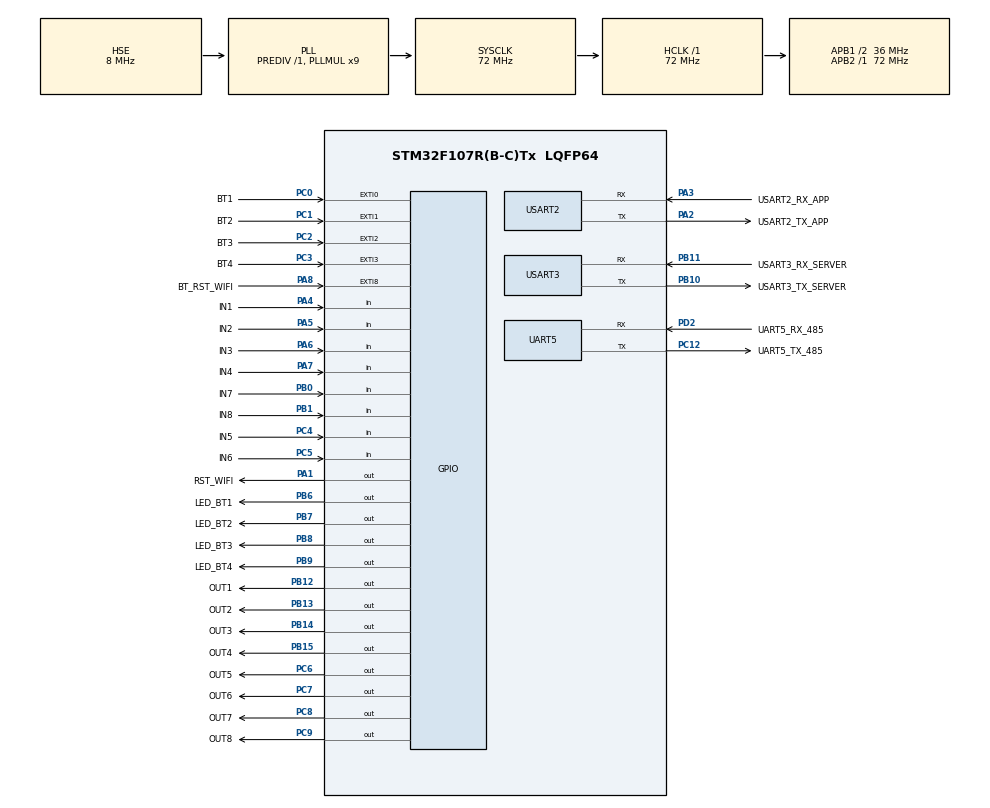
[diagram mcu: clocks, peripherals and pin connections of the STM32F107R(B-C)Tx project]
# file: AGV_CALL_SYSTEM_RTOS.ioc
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Dma.Request0=USART2_RX
Dma.Request1=USART3_RX
Dma.Request2=USART2_TX
Dma.Request3=USART3_TX
Dma.USART2_RX.0.Direction=DMA_PERIPH_TO_MEMORY
Dma.USART2_RX.0.Instance=DMA1_Channel6
Dma.USART2_RX.0.MemDataAlignment=DMA_MDATAALIGN_BYTE
Dma.USART2_RX.0.MemInc=DMA_MINC_ENABLE
Dma.USART2_RX.0.Mode=DMA_NORMAL
Dma.USART2_RX.0.PeriphDataAlignment=DMA_PDATAALIGN_BYTE
Dma.USART2_RX.0.PeriphInc=DMA_PINC_DISABLE
Dma.USART2_RX.0.Priority=DMA_PRIORITY_LOW
Dma.USART2_TX.2.Direction=DMA_MEMORY_TO_PERIPH
Dma.USART2_TX.2.Instance=DMA1_Channel7
Dma.USART2_TX.2.MemDataAlignment=DMA_MDATAALIGN_BYTE
Dma.USART2_TX.2.MemInc=DMA_MINC_ENABLE
Dma.USART2_TX.2.Mode=DMA_NORMAL
Dma.USART2_TX.2.PeriphDataAlignment=DMA_PDATAALIGN_BYTE
Dma.USART2_TX.2.PeriphInc=DMA_PINC_DISABLE
Dma.USART2_TX.2.Priority=DMA_PRIORITY_LOW
Dma.USART3_RX.1.Direction=DMA_PERIPH_TO_MEMORY
Dma.USART3_RX.1.Instance=DMA1_Channel3
Dma.USART3_RX.1.MemDataAlignment=DMA_MDATAALIGN_BYTE
Dma.USART3_RX.1.MemInc=DMA_MINC_ENABLE
Dma.USART3_RX.1.Mode=DMA_NORMAL
Dma.USART3_RX.1.PeriphDataAlignment=DMA_PDATAALIGN_BYTE
Dma.USART3_RX.1.PeriphInc=DMA_PINC_DISABLE
Dma.USART3_RX.1.Priority=DMA_PRIORITY_LOW
Dma.USART3_TX.3.Direction=DMA_MEMORY_TO_PERIPH
Dma.USART3_TX.3.Instance=DMA1_Channel2
Dma.USART3_TX.3.MemDataAlignment=DMA_MDATAALIGN_BYTE
Dma.USART3_TX.3.MemInc=DMA_MINC_ENABLE
Dma.USART3_TX.3.Mode=DMA_NORMAL
Dma.USART3_TX.3.PeriphDataAlignment=DMA_PDATAALIGN_BYTE
Dma.USART3_TX.3.PeriphInc=DMA_PINC_DISABLE
Dma.USART3_TX.3.Priority=DMA_PRIORITY_LOW
FREERTOS.Queues01=myQueue01,16,uint16_t,0,Dynamic,NULL,NULL
FREERTOS.Tasks01=MODBUS_RTU_TASK,0,128,ModbusRTUTask,Default,NULL,Dynamic,NULL,NULL;IO_MANAGER_TASK,-2,128,IOManagerTask,Default,NULL,Dynamic,NULL,NULL;TCP_PROTO_TASK,0,256,TCPProtocolTask,Default,NULL,Dynamic,NULL,NULL;HTTP_PROTO_TASK,0,128,HTTPProtocolTask,Default,NULL,Dynamic,NULL,NULL;ATCOMMAND_TASK,2,128,ATcommandTask,Default,NULL,Dynamic,NULL,NULL
Mcu.Family=STM32F1
Mcu.Name=STM32F107R(B-C)Tx
Mcu.Package=LQFP64
NVIC.DMA1_Channel2_IRQn=true\:5\:0\:true\:false\:true\:true\:false\:true\:true
NVIC.DMA1_Channel3_IRQn=true\:7\:0\:true\:false\:true\:true\:false\:true\:true
NVIC.DMA1_Channel6_IRQn=true\:5\:0\:false\:false\:true\:true\:false\:true\:true
NVIC.DMA1_Channel7_IRQn=true\:7\:0\:true\:false\:true\:true\:false\:true\:true
NVIC.EXTI0_IRQn=true\:5\:0\:false\:false\:true\:true\:true\:true\:true
NVIC.EXTI1_IRQn=true\:5\:0\:false\:false\:true\:true\:true\:true\:true
NVIC.EXTI2_IRQn=true\:5\:0\:false\:false\:true\:true\:true\:true\:true
NVIC.EXTI3_IRQn=true\:5\:0\:false\:false\:true\:true\:true\:true\:true
NVIC.EXTI9_5_IRQn=true\:5\:0\:false\:false\:true\:true\:true\:true\:true
NVIC.PriorityGroup=NVIC_PRIORITYGROUP_4
NVIC.TIM1_UP_IRQn=true\:5\:0\:false\:false\:true\:true\:true\:true\:true
NVIC.UART5_IRQn=true\:6\:0\:true\:false\:true\:true\:true\:true\:true
NVIC.USART2_IRQn=true\:6\:0\:true\:false\:true\:true\:true\:true\:true
NVIC.USART3_IRQn=true\:6\:0\:true\:false\:true\:true\:true\:true\:true
PA1.GPIO_Label=RST_WIFI
PA1.Signal=GPIO_Output
PA13.Mode=Serial_Wire
PA13.Signal=SYS_JTMS-SWDIO
PA14.Mode=Serial_Wire
PA14.Signal=SYS_JTCK-SWCLK
PA2.GPIO_Label=USART2_TX_APP
PA2.Mode=Asynchronous
PA2.Signal=USART2_TX
PA3.GPIO_Label=USART2_RX_APP
PA3.Mode=Asynchronous
PA3.Signal=USART2_RX
PA4.GPIO_Label=IN1
PA4.Signal=GPIO_Input
PA5.GPIO_Label=IN2
PA5.Signal=GPIO_Input
PA6.GPIO_Label=IN3
PA6.Signal=GPIO_Input
PA7.GPIO_Label=IN4
PA7.Signal=GPIO_Input
PA8.GPIO_Label=BT_RST_WIFI
PA8.GPIO_ModeDefaultEXTI=GPIO_MODE_IT_FALLING
PA8.Signal=GPXTI8
PB0.GPIO_Label=IN7
PB0.Signal=GPIO_Input
PB1.GPIO_Label=IN8
PB1.Signal=GPIO_Input
PB10.GPIO_Label=USART3_TX_SERVER
PB10.Mode=Asynchronous
PB10.Signal=USART3_TX
PB11.GPIO_Label=USART3_RX_SERVER
PB11.Mode=Asynchronous
PB11.Signal=USART3_RX
PB12.GPIO_Label=OUT1
PB12.Signal=GPIO_Output
PB13.GPIO_Label=OUT2
PB13.Signal=GPIO_Output
PB14.GPIO_Label=OUT3
PB14.Signal=GPIO_Output
PB15.GPIO_Label=OUT4
PB15.Signal=GPIO_Output
PB6.GPIO_Label=LED_BT1
PB6.Signal=GPIO_Output
PB7.GPIO_Label=LED_BT2
PB7.Signal=GPIO_Output
PB8.GPIO_Label=LED_BT3
PB8.Signal=GPIO_Output
PB9.GPIO_Label=LED_BT4
PB9.Signal=GPIO_Output
PC0.GPIO_Label=BT1
PC0.GPIO_ModeDefaultEXTI=GPIO_MODE_IT_FALLING
PC0.Signal=GPXTI0
PC1.GPIO_Label=BT2
PC1.GPIO_ModeDefaultEXTI=GPIO_MODE_IT_FALLING
PC1.Signal=GPXTI1
PC12.GPIO_Label=UART5_TX_485
PC12.Mode=Asynchronous
PC12.Signal=UART5_TX
PC2.GPIO_Label=BT3
PC2.GPIO_ModeDefaultEXTI=GPIO_MODE_IT_FALLING
PC2.Signal=GPXTI2
PC3.GPIO_Label=BT4
PC3.GPIO_ModeDefaultEXTI=GPIO_MODE_IT_FALLING
PC3.Signal=GPXTI3
PC4.GPIO_Label=IN5
PC4.Signal=GPIO_Input
PC5.GPIO_Label=IN6
PC5.Signal=GPIO_Input
PC6.GPIO_Label=OUT5
PC6.Signal=GPIO_Output
PC7.GPIO_Label=OUT6
PC7.Signal=GPIO_Output
PC8.GPIO_Label=OUT7
PC8.Signal=GPIO_Output
PC9.GPIO_Label=OUT8
PC9.Signal=GPIO_Output
PD0-OSC_IN.Mode=HSE-External-Oscillator
PD0-OSC_IN.Signal=RCC_OSC_IN
PD1-OSC_OUT.Mode=HSE-External-Oscillator
PD1-OSC_OUT.Signal=RCC_OSC_OUT
PD2.GPIO_Label=UART5_RX_485
PD2.Mode=Asynchronous
PD2.Signal=UART5_RX
ProjectManager.HeapSize=0x200
ProjectManager.StackSize=0x400
ProjectManager.TargetToolchain=STM32CubeIDE
RCC.AHBFreq_Value=72000000
RCC.APB1CLKDivider=RCC_HCLK_DIV2
RCC.APB1Freq_Value=36000000
RCC.APB1TimFreq_Value=72000000
RCC.APB2Freq_Value=72000000
RCC.APB2TimFreq_Value=72000000
RCC.HCLKFreq_Value=72000000
RCC.PLLMUL=RCC_PLL_MUL9
RCC.PLLSourceVirtual=RCC_PLLSOURCE_HSE
RCC.SYSCLKFreq_VALUE=72000000
RCC.SYSCLKSource=RCC_SYSCLKSOURCE_PLLCLK
RCC.USBFreq_Value=48000000
TIM1.Period=7999
TIM1.Prescaler=99
UART5.VirtualMode=Asynchronous
USART2.VirtualMode=VM_ASYNC
USART3.VirtualMode=VM_ASYNC
VP_FREERTOS_VS_CMSIS_V1.Mode=CMSIS_V1
VP_TIM1_VS_ClockSourceINT.Mode=Internal
board=custom

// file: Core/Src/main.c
/* USER CODE BEGIN Header */
/**
  ******************************************************************************
  * @file           : main.c
  * @brief          : Main program body
  ******************************************************************************
  * @attention
  *
  * Copyright (c) 2026 STMicroelectronics.
  * All rights reserved.
  *
  * This software is licensed under terms that can be found in the LICENSE file
  * in the root directory of this software component.
  * If no LICENSE file comes with this software, it is provided AS-IS.
  *
  ******************************************************************************
  */
/* USER CODE END Header */
#include "main.h"
#include "cmsis_os.h"

/* USER CODE BEGIN Includes */
#include "a.ModbusRTUTask.h"
#include "b.IOManagerTask.h"
#include "c.TCPProtocolTask.h"
#include "d.HTTPProtocolTask.h"
#include "e.ATcommandTask.h"

/* USER CODE END Includes */

TIM_HandleTypeDef htim1;

UART_HandleTypeDef huart5;
UART_HandleTypeDef huart2;
UART_HandleTypeDef huart3;
DMA_HandleTypeDef hdma_usart2_rx;
DMA_HandleTypeDef hdma_usart2_tx;
DMA_HandleTypeDef hdma_usart3_rx;
DMA_HandleTypeDef hdma_usart3_tx;

osThreadId MODBUS_RTU_TASKHandle;
osThreadId IO_MANAGER_TASKHandle;
osThreadId TCP_PROTO_TASKHandle;
osThreadId HTTP_PROTO_TASKHandle;
osThreadId ATCOMMAND_TASKHandle;
//osMessageQId myQueue01Handle;
/* USER CODE BEGIN PV */
osMailQId IOTaskReceive_MQ;                   // Mail Queue ( IO Manager Queue )
//TASK IO
osMailQId IOTaskTransferToRTU_MQ;       // Mail Queue Notify Change
osMailQId IOTaskTransferToTCP_MQ;       // Mail Queue Notify Change
osMailQId IOTaskTransferToHTTP_MQ;    // Mail Queue Notify Change

//DECLARATION
uint8_t RX2_Buffer[RX2_SIZE] = {0};
volatile uint16_t RX2_ActualSize = 0;
uint8_t TX2_Buffer[TX2_SIZE] = {0};

uint8_t RX3_Buffer[RX3_SIZE] = {0};
volatile uint16_t RX3_ActualSize = 0;

uint8_t RX5_Buffer[RX5_SIZE] = {0};
uint8_t TX5_Buffer[TX5_SIZE] = {0};
volatile uint16_t RX5_ActualSize = 0;
volatile uint8_t RX5_Ready = 0;

extern   uint8_t Input_MainDatabase; // from #include "b.IOManagerTask.h"
uint8_t Input_MainDatabase_Pre;

extern SystemConfig_t g_config; // flask from TCPProtocolTask

/* USER CODE END PV */

void SystemClock_Config(void);
static void MX_GPIO_Init(void);
static void MX_DMA_Init(void);
static void MX_TIM1_Init(void);
static void MX_UART5_Init(void);
static void MX_USART2_UART_Init(void);
static void MX_USART3_UART_Init(void);
void ModbusRTUTask(void const * argument);
void IOManagerTask(void const * argument);
void TCPProtocolTask(void const * argument);
void HTTPProtocolTask(void const * argument);
void ATcommandTask(void const * argument);

/* USER CODE BEGIN 0 */

//2 HÀM ĐỂ DEBUG RUN TIME TRONG Window + Show View + Free RTOS + Free RTOS Task List
//(Lưu ý: Chạy Chương trình xong - tạm dừng chương trình khi debug mới xem được)
/* Hàm này được RTOS gọi một lần khi bắt đầu chạy Scheduler */
void configureTimerForRunTimeStats(void) {}
unsigned long getRunTimeCounterValue(void) {
    return HAL_GetTick(); /* Hàm này được RTOS gọi liên tục để lấy giá trị thời gian (độ phân giải 1ms) */
}

void HAL_TIM_PeriodElapsedCallback(TIM_HandleTypeDef *htim) { // Function : Read Input 10ms
	if (htim->Instance == TIM1)
	{
		uint8_t tmp = 0;
		for (int i = 0; i < 8; i++)
		{
			tmp |= (((GPIO_INPUT[i].port->IDR & GPIO_INPUT[i].pin) != 0) << i);
		}

		tmp ^= 0xFF;   // <<< ĐẢO BIT

		if (tmp != Input_MainDatabase_Pre)
		{
			Input_MainDatabase = tmp;
			Input_MainDatabase_Pre = tmp;
			osSignalSet(IO_MANAGER_TASKHandle, SIG_SCAN_INPUT);
		}
	}
}

void HAL_UARTEx_RxEventCallback(UART_HandleTypeDef *huart, uint16_t Size){ //===UART2 + UART3 IDLE DMA====//
	if(huart->Instance == USART2)
	{
		RX2_ActualSize = Size;
		osSignalSet(TCP_PROTO_TASKHandle, SIG_DMA_UART2); // Authorize run TCP Task

		HAL_UARTEx_ReceiveToIdle_DMA(&huart2, RX2_Buffer, RX2_SIZE);
		__HAL_DMA_DISABLE_IT(huart2.hdmarx, DMA_IT_HT);

	}
	if(huart->Instance == USART3)
	{
		RX3_ActualSize = Size;
		osSignalSet(HTTP_PROTO_TASKHandle, SIG_DMA_UART3);// Authorize run HTTP Task

		HAL_UARTEx_ReceiveToIdle_DMA(&huart3, RX3_Buffer, RX3_SIZE);
		__HAL_DMA_DISABLE_IT(huart3.hdmarx, DMA_IT_HT);
	}
	if(huart -> Instance == UART5){
		RX5_ActualSize = Size;
		osSignalSet(MODBUS_RTU_TASKHandle, SIG_IT_UART5);
		HAL_UARTEx_ReceiveToIdle_IT(&huart5, RX5_Buffer, RX5_SIZE);
	}
}

void HAL_GPIO_EXTI_Callback(uint16_t GPIO_Pin){ //=========EXT INTERRUPT=============//
	if(GPIO_Pin == BT1_Pin){
		osSignalSet(IO_MANAGER_TASKHandle, SIG_BT1);
	}
	else if(GPIO_Pin == BT2_Pin){
		osSignalSet(IO_MANAGER_TASKHandle, SIG_BT2);
	}
	else if(GPIO_Pin == BT3_Pin){
		osSignalSet(IO_MANAGER_TASKHandle, SIG_BT3);
	}
	else if(GPIO_Pin == BT4_Pin){
		osSignalSet(IO_MANAGER_TASKHandle, SIG_BT4);
	}
	else if(GPIO_Pin == BT_RST_WIFI_Pin){
		if(ATCOMMAND_TASKHandle != NULL) {
			osSignalSet(ATCOMMAND_TASKHandle, SIG_RST_WIFI);
		}
	}
}

/* USER CODE END 0 */

int main(void)
{

  /* MCU Configuration--------------------------------------------------------*/

  /* Reset of all peripherals, Initializes the Flash interface and the Systick. */
  HAL_Init();
  //HAL_NVIC_SetPriorityGrouping(NVIC_PRIORITYGROUP_4);

  /* Configure the system clock */
  SystemClock_Config();

  /* USER CODE BEGIN SysInit */
  Flash_Read_Config(&g_config); // Read Flask Memories

  if (g_config.magic == 0xA5A5A5A5)
  {
	  // HTTP
	  Port_HTTP = g_config.Port_HTTP_Flask;
	  St_ID = g_config.St_ID_Flask;
      //strcpy(Token, g_config.Token_Flask);
	  strcpy(Endpoint, g_config.Endpoint_Flask);
	  strcpy(Pass_HTTP, g_config.Pass_HTTP_Flask);
	  strcpy(Event, g_config.Event_Flask);
	  strcpy(Ip_HTTP, g_config.Ip_HTTP_Flask);
	  strcpy(User, g_config.User_Flask);

	  // FMS
		On_FMS   = g_config.On_FMS_Flask;
		strcpy(Tk1, g_config.Tk1_Flask);
		strcpy(Tk2, g_config.Tk2_Flask);
		strcpy(Tk3, g_config.Tk3_Flask);
		strcpy(Tk4, g_config.Tk4_Flask);
		strcpy(Pt1, g_config.Pt1_Flask);
		strcpy(Pt2, g_config.Pt2_Flask);
		strcpy(Pt3, g_config.Pt3_Flask);
		strcpy(Pt4, g_config.Pt4_Flask);

	  // TCP + RTU
	  On_TCP   = g_config.On_TCP_Flask;
	  On_RTU   = g_config.On_RTU_Flask;
	  Slave_ID = g_config.Slave_ID_Flask;
	  Port_TCP = g_config.Port_TCP_Flask;
  }
  else
  {
	  // Default
	  Port_HTTP = 5000;
	  On_TCP   = 1;
	  On_RTU   = 0;
	  Slave_ID = 1;
	  Port_TCP = 8080;
  }
  /* USER CODE END SysInit */

  /* Initialize all configured peripherals */
  MX_GPIO_Init();
  MX_DMA_Init();
  MX_TIM1_Init();
  MX_UART5_Init();
  MX_USART2_UART_Init();
  MX_USART3_UART_Init();
  /* USER CODE BEGIN 2 */
  HAL_Delay(500);
  HAL_GPIO_WritePin(RST_WIFI_GPIO_Port, RST_WIFI_Pin, 1);

//  wifi_pulse(1000, 1000);
  Reset_Wifi();

  HAL_TIM_Base_Start_IT(&htim1); // Timer interrupt

  HAL_UARTEx_ReceiveToIdle_DMA(&huart2, RX2_Buffer, RX2_SIZE);
  __HAL_DMA_DISABLE_IT(huart2.hdmarx, DMA_IT_HT);

  HAL_UARTEx_ReceiveToIdle_DMA(&huart3, RX3_Buffer, RX3_SIZE);
  __HAL_DMA_DISABLE_IT(huart3.hdmarx, DMA_IT_HT);

  HAL_UARTEx_ReceiveToIdle_IT(&huart5, RX5_Buffer, RX5_SIZE);

  //RST_WIFI_GPIO_Port ->  BSRR = RST_WIFI_Pin; // Set Bit 1 to Start HLK-RM08S
  /* USER CODE END 2 */

  /* Create the queue(s) */
  /* definition and creation of myQueue01 */

  /* USER CODE BEGIN RTOS_QUEUES */
  /* add queues, ... */
   osMailQDef(IOTaskReceive_MQ, 4, IO_State_t);  // Mail Queue
   IOTaskReceive_MQ = osMailCreate(osMailQ(IOTaskReceive_MQ), NULL);  // Mail Queue
   //============IO TASK=========================//
	osMailQDef(IOTaskTransferToRTU_MQ, 4, IO_State_t);  // Mail Queue Notify Change IO
	IOTaskTransferToRTU_MQ = osMailCreate(osMailQ(IOTaskTransferToRTU_MQ), NULL);  // Mail Queue Notify Change IO

	osMailQDef(IOTaskTransferToTCP_MQ, 4, IO_State_t);  // Mail Queue Notify Change IO
	IOTaskTransferToTCP_MQ = osMailCreate(osMailQ(IOTaskTransferToTCP_MQ), NULL);  // Mail Queue Notify Change IO

	osMailQDef(IOTaskTransferToHTTP_MQ, 4, IO_State_t);  // Mail Queue Notify Change IO
	IOTaskTransferToHTTP_MQ = osMailCreate(osMailQ(IOTaskTransferToHTTP_MQ), NULL);  // Mail Queue Notify Change IO
  /* USER CODE END RTOS_QUEUES */

  /* Create the thread(s) */
  /* definition and creation of MODBUS_RTU_TASK */
  osThreadDef(MODBUS_RTU_TASK, ModbusRTUTask, osPriorityNormal, 0, 128);
  MODBUS_RTU_TASKHandle = osThreadCreate(osThread(MODBUS_RTU_TASK), NULL);

  /* definition and creation of IO_MANAGER_TASK */
  osThreadDef(IO_MANAGER_TASK, IOManagerTask, osPriorityLow, 0, 128);
  IO_MANAGER_TASKHandle = osThreadCreate(osThread(IO_MANAGER_TASK), NULL);

  /* definition and creation of TCP_PROTO_TASK */
  osThreadDef(TCP_PROTO_TASK, TCPProtocolTask, osPriorityNormal, 0, 768);
  TCP_PROTO_TASKHandle = osThreadCreate(osThread(TCP_PROTO_TASK), NULL);

  /* definition and creation of HTTP_PROTO_TASK */
  osThreadDef(HTTP_PROTO_TASK, HTTPProtocolTask, osPriorityNormal, 0, 512);
  HTTP_PROTO_TASKHandle = osThreadCreate(osThread(HTTP_PROTO_TASK), NULL);

  /* definition and creation of ATCOMMAND_TASK */
  osThreadDef(ATCOMMAND_TASK, ATcommandTask, osPriorityHigh, 0, 512);
  ATCOMMAND_TASKHandle = osThreadCreate(osThread(ATCOMMAND_TASK), NULL);

  /* Start scheduler */
  osKernelStart();

  /* We should never get here as control is now taken by the scheduler */

  /* Infinite loop */
  while (1)
  {

  }
}

void SystemClock_Config(void)
{
  RCC_OscInitTypeDef RCC_OscInitStruct = {0};
  RCC_ClkInitTypeDef RCC_ClkInitStruct = {0};

  /** Initializes the RCC Oscillators according to the specified parameters
  * in the RCC_OscInitTypeDef structure.
  */
  RCC_OscInitStruct.OscillatorType = RCC_OSCILLATORTYPE_HSE;
  RCC_OscInitStruct.HSEState = RCC_HSE_ON;
  RCC_OscInitStruct.HSEPredivValue = RCC_HSE_PREDIV_DIV1;
  RCC_OscInitStruct.HSIState = RCC_HSI_ON;
  RCC_OscInitStruct.Prediv1Source = RCC_PREDIV1_SOURCE_HSE;
  RCC_OscInitStruct.PLL.PLLState = RCC_PLL_ON;
  RCC_OscInitStruct.PLL.PLLSource = RCC_PLLSOURCE_HSE;
  RCC_OscInitStruct.PLL.PLLMUL = RCC_PLL_MUL9;
  RCC_OscInitStruct.PLL2.PLL2State = RCC_PLL_NONE;
  if (HAL_RCC_OscConfig(&RCC_OscInitStruct) != HAL_OK)
  {
    Error_Handler();
  }

  /** Initializes the CPU, AHB and APB buses clocks
  */
  RCC_ClkInitStruct.ClockType = RCC_CLOCKTYPE_HCLK|RCC_CLOCKTYPE_SYSCLK
                              |RCC_CLOCKTYPE_PCLK1|RCC_CLOCKTYPE_PCLK2;
  RCC_ClkInitStruct.SYSCLKSource = RCC_SYSCLKSOURCE_PLLCLK;
  RCC_ClkInitStruct.AHBCLKDivider = RCC_SYSCLK_DIV1;
  RCC_ClkInitStruct.APB1CLKDivider = RCC_HCLK_DIV2;
  RCC_ClkInitStruct.APB2CLKDivider = RCC_HCLK_DIV1;

  if (HAL_RCC_ClockConfig(&RCC_ClkInitStruct, FLASH_LATENCY_2) != HAL_OK)
  {
    Error_Handler();
  }

  /** Configure the Systick interrupt time
  */
  __HAL_RCC_PLLI2S_ENABLE();
}

static void MX_TIM1_Init(void)
{

  TIM_ClockConfigTypeDef sClockSourceConfig = {0};
  TIM_MasterConfigTypeDef sMasterConfig = {0};

  htim1.Instance = TIM1;
  htim1.Init.Prescaler = 99;
  htim1.Init.CounterMode = TIM_COUNTERMODE_UP;
  htim1.Init.Period = 7999;
  htim1.Init.ClockDivision = TIM_CLOCKDIVISION_DIV1;
  htim1.Init.RepetitionCounter = 0;
  htim1.Init.AutoReloadPreload = TIM_AUTORELOAD_PRELOAD_DISABLE;
  if (HAL_TIM_Base_Init(&htim1) != HAL_OK)
  {
    Error_Handler();
  }
  sClockSourceConfig.ClockSource = TIM_CLOCKSOURCE_INTERNAL;
  if (HAL_TIM_ConfigClockSource(&htim1, &sClockSourceConfig) != HAL_OK)
  {
    Error_Handler();
  }
  sMasterConfig.MasterOutputTrigger = TIM_TRGO_RESET;
  sMasterConfig.MasterSlaveMode = TIM_MASTERSLAVEMODE_DISABLE;
  if (HAL_TIMEx_MasterConfigSynchronization(&htim1, &sMasterConfig) != HAL_OK)
  {
    Error_Handler();
  }

}

static void MX_UART5_Init(void)
{

  huart5.Instance = UART5;
  huart5.Init.BaudRate = 115200;
  huart5.Init.WordLength = UART_WORDLENGTH_8B;
  huart5.Init.StopBits = UART_STOPBITS_1;
  huart5.Init.Parity = UART_PARITY_NONE;
  huart5.Init.Mode = UART_MODE_TX_RX;
  huart5.Init.HwFlowCtl = UART_HWCONTROL_NONE;
  huart5.Init.OverSampling = UART_OVERSAMPLING_16;
  if (HAL_UART_Init(&huart5) != HAL_OK)
  {
    Error_Handler();
  }

}

static void MX_USART2_UART_Init(void)
{

  huart2.Instance = USART2;
  huart2.Init.BaudRate = 115200;
  huart2.Init.WordLength = UART_WORDLENGTH_8B;
  huart2.Init.StopBits = UART_STOPBITS_1;
  huart2.Init.Parity = UART_PARITY_NONE;
  huart2.Init.Mode = UART_MODE_TX_RX;
  huart2.Init.HwFlowCtl = UART_HWCONTROL_NONE;
  huart2.Init.OverSampling = UART_OVERSAMPLING_16;
  if (HAL_UART_Init(&huart2) != HAL_OK)
  {
    Error_Handler();
  }

}

static void MX_USART3_UART_Init(void)
{

  huart3.Instance = USART3;
  huart3.Init.BaudRate = 115200;
  huart3.Init.WordLength = UART_WORDLENGTH_8B;
  huart3.Init.StopBits = UART_STOPBITS_1;
  huart3.Init.Parity = UART_PARITY_NONE;
  huart3.Init.Mode = UART_MODE_TX_RX;
  huart3.Init.HwFlowCtl = UART_HWCONTROL_NONE;
  huart3.Init.OverSampling = UART_OVERSAMPLING_16;
  if (HAL_UART_Init(&huart3) != HAL_OK)
  {
    Error_Handler();
  }

}

static void MX_DMA_Init(void)
{

  /* DMA controller clock enable */
  __HAL_RCC_DMA1_CLK_ENABLE();

  /* DMA interrupt init */
  /* DMA1_Channel2_IRQn interrupt configuration */
  HAL_NVIC_SetPriority(DMA1_Channel2_IRQn, 5, 0);
  HAL_NVIC_EnableIRQ(DMA1_Channel2_IRQn);
  /* DMA1_Channel3_IRQn interrupt configuration */
  HAL_NVIC_SetPriority(DMA1_Channel3_IRQn, 7, 0);
  HAL_NVIC_EnableIRQ(DMA1_Channel3_IRQn);
  /* DMA1_Channel6_IRQn interrupt configuration */
  HAL_NVIC_SetPriority(DMA1_Channel6_IRQn, 5, 0);
  HAL_NVIC_EnableIRQ(DMA1_Channel6_IRQn);
  /* DMA1_Channel7_IRQn interrupt configuration */
  HAL_NVIC_SetPriority(DMA1_Channel7_IRQn, 7, 0);
  HAL_NVIC_EnableIRQ(DMA1_Channel7_IRQn);

}

static void MX_GPIO_Init(void)
{
  GPIO_InitTypeDef GPIO_InitStruct = {0};

  /* GPIO Ports Clock Enable */
  __HAL_RCC_GPIOD_CLK_ENABLE();
  __HAL_RCC_GPIOC_CLK_ENABLE();
  __HAL_RCC_GPIOA_CLK_ENABLE();
  __HAL_RCC_GPIOB_CLK_ENABLE();

  /*Configure GPIO pin Output Level */
  HAL_GPIO_WritePin(RST_WIFI_GPIO_Port, RST_WIFI_Pin, GPIO_PIN_RESET);

  /*Configure GPIO pin Output Level */
  HAL_GPIO_WritePin(GPIOB, OUT1_Pin|OUT2_Pin|OUT3_Pin|OUT4_Pin
                          |LED_BT1_Pin|LED_BT2_Pin|LED_BT3_Pin|LED_BT4_Pin, GPIO_PIN_RESET);

  /*Configure GPIO pin Output Level */
  HAL_GPIO_WritePin(GPIOC, OUT5_Pin|OUT6_Pin|OUT7_Pin|OUT8_Pin, GPIO_PIN_RESET);

  /*Configure GPIO pins : BT1_Pin BT2_Pin BT3_Pin BT4_Pin */
  GPIO_InitStruct.Pin = BT1_Pin|BT2_Pin|BT3_Pin|BT4_Pin;
  GPIO_InitStruct.Mode = GPIO_MODE_IT_FALLING;
  GPIO_InitStruct.Pull = GPIO_NOPULL;
  HAL_GPIO_Init(GPIOC, &GPIO_InitStruct);

  /*Configure GPIO pin : RST_WIFI_Pin */
  GPIO_InitStruct.Pin = RST_WIFI_Pin;
  GPIO_InitStruct.Mode = GPIO_MODE_OUTPUT_PP;
  GPIO_InitStruct.Pull = GPIO_NOPULL;
  GPIO_InitStruct.Speed = GPIO_SPEED_FREQ_LOW;
  HAL_GPIO_Init(RST_WIFI_GPIO_Port, &GPIO_InitStruct);

  /*Configure GPIO pins : IN1_Pin IN2_Pin IN3_Pin IN4_Pin */
  GPIO_InitStruct.Pin = IN1_Pin|IN2_Pin|IN3_Pin|IN4_Pin;
  GPIO_InitStruct.Mode = GPIO_MODE_INPUT;
  GPIO_InitStruct.Pull = GPIO_NOPULL;
  HAL_GPIO_Init(GPIOA, &GPIO_InitStruct);

  /*Configure GPIO pins : IN5_Pin IN6_Pin */
  GPIO_InitStruct.Pin = IN5_Pin|IN6_Pin;
  GPIO_InitStruct.Mode = GPIO_MODE_INPUT;
  GPIO_InitStruct.Pull = GPIO_NOPULL;
  HAL_GPIO_Init(GPIOC, &GPIO_InitStruct);

  /*Configure GPIO pins : IN7_Pin IN8_Pin */
  GPIO_InitStruct.Pin = IN7_Pin|IN8_Pin;
  GPIO_InitStruct.Mode = GPIO_MODE_INPUT;
  GPIO_InitStruct.Pull = GPIO_NOPULL;
  HAL_GPIO_Init(GPIOB, &GPIO_InitStruct);

  /*Configure GPIO pins : OUT1_Pin OUT2_Pin OUT3_Pin OUT4_Pin
                           LED_BT1_Pin LED_BT2_Pin LED_BT3_Pin LED_BT4_Pin */
  GPIO_InitStruct.Pin = OUT1_Pin|OUT2_Pin|OUT3_Pin|OUT4_Pin
                          |LED_BT1_Pin|LED_BT2_Pin|LED_BT3_Pin|LED_BT4_Pin;
  GPIO_InitStruct.Mode = GPIO_MODE_OUTPUT_PP;
  GPIO_InitStruct.Pull = GPIO_NOPULL;
  GPIO_InitStruct.Speed = GPIO_SPEED_FREQ_LOW;
  HAL_GPIO_Init(GPIOB, &GPIO_InitStruct);

  /*Configure GPIO pins : OUT5_Pin OUT6_Pin OUT7_Pin OUT8_Pin */
  GPIO_InitStruct.Pin = OUT5_Pin|OUT6_Pin|OUT7_Pin|OUT8_Pin;
  GPIO_InitStruct.Mode = GPIO_MODE_OUTPUT_PP;
  GPIO_InitStruct.Pull = GPIO_NOPULL;
  GPIO_InitStruct.Speed = GPIO_SPEED_FREQ_LOW;
  HAL_GPIO_Init(GPIOC, &GPIO_InitStruct);

  /*Configure GPIO pin : BT_RST_WIFI_Pin */
  GPIO_InitStruct.Pin = BT_RST_WIFI_Pin;
  GPIO_InitStruct.Mode = GPIO_MODE_IT_FALLING;
  GPIO_InitStruct.Pull = GPIO_NOPULL;
  HAL_GPIO_Init(BT_RST_WIFI_GPIO_Port, &GPIO_InitStruct);

  /* EXTI interrupt init*/
  HAL_NVIC_SetPriority(EXTI0_IRQn, 5, 0);
  HAL_NVIC_EnableIRQ(EXTI0_IRQn);

  HAL_NVIC_SetPriority(EXTI1_IRQn, 5, 0);
  HAL_NVIC_EnableIRQ(EXTI1_IRQn);

  HAL_NVIC_SetPriority(EXTI2_IRQn, 5, 0);
  HAL_NVIC_EnableIRQ(EXTI2_IRQn);

  HAL_NVIC_SetPriority(EXTI3_IRQn, 5, 0);
  HAL_NVIC_EnableIRQ(EXTI3_IRQn);

  HAL_NVIC_SetPriority(EXTI9_5_IRQn, 5, 0);
  HAL_NVIC_EnableIRQ(EXTI9_5_IRQn);

}

/* USER CODE BEGIN 4 */

void vApplicationStackOverflowHook(TaskHandle_t xTask, char *pcTaskName)
{
	/* Nếu chương trình rơi vào đây, có nghĩa là Task có tên pcTaskName đã bị tràn Stack.
	   Tại đây bạn có thể đặt Breakpoint để debug hoặc cho LED nhấp nháy báo lỗi.
	*/
	( void ) xTask;
	( void ) pcTaskName;

	for( ;; );
}

/* USER CODE END 4 */

void ModbusRTUTask(void const * argument)
{
  /* USER CODE BEGIN 5 */
  /* Infinite loop */
	Modbus_RTU_Communication(argument);
  /* USER CODE END 5 */
}

void IOManagerTask(void const * argument)
{
  /* USER CODE BEGIN IOManagerTask */
  /* Infinite loop */
	IOManagerTaskFunction(argument);
  /* USER CODE END IOManagerTask */
}

void TCPProtocolTask(void const * argument)
{
  /* USER CODE BEGIN TCPProtocolTask */
  /* Infinite loop */
	Parse_JSON_TCP(argument);
  /* USER CODE END TCPProtocolTask */
}

void HTTPProtocolTask(void const * argument)
{
  /* USER CODE BEGIN HTTPProtocolTask */
  /* Infinite loop */
	Send_IOStateToServer(argument);
  /* USER CODE END HTTPProtocolTask */
}

void ATcommandTask(void const * argument)
{
  /* USER CODE BEGIN ATcommandTask */
  /* Infinite loop */
	ATcommand_Function(argument);
  /* USER CODE END ATcommandTask */
}

void Error_Handler(void)
{
  __disable_irq();
  while (1)
  {
  }
}
